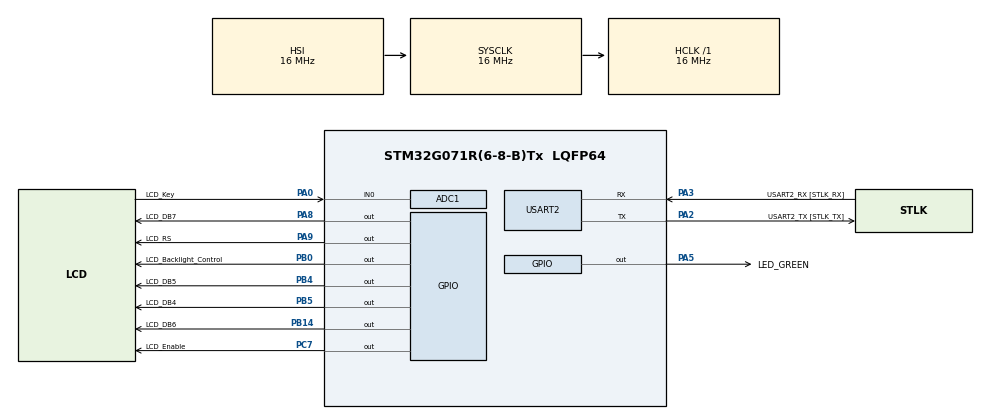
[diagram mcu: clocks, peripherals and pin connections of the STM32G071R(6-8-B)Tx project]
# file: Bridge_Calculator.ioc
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ADC1.Channel-0\#ChannelRegularConversion=ADC_CHANNEL_0
ADC1.NbrOfConversion=1
ADC1.NbrOfConversionFlag=1
ADC1.Rank-0\#ChannelRegularConversion=1
ADC1.Resolution=ADC_RESOLUTION_10B
ADC1.SamplingTime-0\#ChannelRegularConversion=ADC_SAMPLINGTIME_COMMON_1
ADC1.SamplingTimeCommon1=ADC_SAMPLETIME_1CYCLE_5
ADC1.SamplingTimeCommon2=ADC_SAMPLETIME_1CYCLE_5
ADC1.SelectedChannel=ADC_CHANNEL_0
ADC1.master=1
Mcu.Family=STM32G0
Mcu.Name=STM32G071R(6-8-B)Tx
Mcu.Package=LQFP64
NVIC.TIM2_IRQn=true\:0\:0\:false\:false\:true\:true\:true\:true
PA0.GPIO_Label=LCD_Key
PA0.Mode=IN0
PA0.Signal=ADC1_IN0
PA13.GPIO_Label=TMS
PA13.Mode=Serial_Wire
PA13.Signal=SYS_SWDIO
PA14-BOOT0.GPIO_Label=TCK
PA14-BOOT0.Mode=Serial_Wire
PA14-BOOT0.Signal=SYS_SWCLK
PA2.GPIO_Label=USART2_TX [STLK_TX]
PA2.GPIO_PuPd=GPIO_PULLUP
PA2.Mode=Asynchronous
PA2.Signal=USART2_TX
PA3.GPIO_Label=USART2_RX [STLK_RX]
PA3.GPIO_PuPd=GPIO_PULLUP
PA3.Mode=Asynchronous
PA3.Signal=USART2_RX
PA5.GPIO_Label=LED_GREEN
PA5.GPIO_Speed=GPIO_SPEED_FREQ_HIGH
PA5.Signal=GPIO_Output
PA8.GPIO_Label=LCD_DB7
PA8.GPIO_PuPd=GPIO_PULLDOWN
PA8.PinState=GPIO_PIN_RESET
PA8.Signal=GPIO_Output
PA9.GPIO_Label=LCD_RS
PA9.GPIO_PuPd=GPIO_PULLDOWN
PA9.PinState=GPIO_PIN_RESET
PA9.Signal=GPIO_Output
PB0.GPIO_Label=LCD_Backlight_Control
PB0.GPIO_PuPd=GPIO_PULLDOWN
PB0.PinState=GPIO_PIN_RESET
PB0.Signal=GPIO_Output
PB14.GPIO_Label=LCD_DB6
PB14.GPIO_PuPd=GPIO_PULLDOWN
PB14.PinState=GPIO_PIN_RESET
PB14.Signal=GPIO_Output
PB4.GPIO_Label=LCD_DB5
PB4.GPIO_PuPd=GPIO_PULLDOWN
PB4.PinState=GPIO_PIN_RESET
PB4.Signal=GPIO_Output
PB5.GPIO_Label=LCD_DB4
PB5.GPIO_PuPd=GPIO_PULLDOWN
PB5.PinState=GPIO_PIN_RESET
PB5.Signal=GPIO_Output
PC13.Mode=SYS_WakeUp1
PC13.Signal=SYS_WKUP2
PC14-OSC32_IN\ (PC14).Mode=LSE-External-Oscillator
PC14-OSC32_IN\ (PC14).Signal=RCC_OSC32_IN
PC15-OSC32_OUT\ (PC15).Mode=LSE-External-Oscillator
PC15-OSC32_OUT\ (PC15).Signal=RCC_OSC32_OUT
PC7.GPIO_Label=LCD_Enable
PC7.GPIO_PuPd=GPIO_PULLDOWN
PC7.PinState=GPIO_PIN_RESET
PC7.Signal=GPIO_Output
PF0-OSC_IN\ (PF0).GPIO_Label=MCO
PF0-OSC_IN\ (PF0).Mode=HSE-External-Clock-Source
PF0-OSC_IN\ (PF0).Signal=RCC_OSC_IN
ProjectManager.HeapSize=0x200
ProjectManager.StackSize=0x400
ProjectManager.TargetToolchain=CMake
RCC.AHBFreq_Value=16000000
RCC.CortexFreq_Value=16000000
RCC.EXTERNAL_CLOCK_VALUE=12288000
RCC.HCLKFreq_Value=16000000
RCC.HSE_VALUE=8000000
RCC.HSI_VALUE=16000000
RCC.PLLQ=RCC_PLLQ_DIV4
RCC.SYSCLKFreq_VALUE=16000000
RCC.VCOOutputFreq_Value=128000000
TIM2.AutoReloadPreload=TIM_AUTORELOAD_PRELOAD_ENABLE
TIM2.Period=999
TIM2.Prescaler=15
USART2.VirtualMode-Asynchronous=VM_ASYNC
VP_TIM2_VS_ClockSourceINT.Mode=Internal
board=NUCLEO-G071RB

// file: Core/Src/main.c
/* USER CODE BEGIN Header */
/**
  ******************************************************************************
  * @file           : main.c
  * @brief          : Main program body
  ******************************************************************************
  * @attention
  *
  * Copyright (c) 2025 STMicroelectronics.
  * All rights reserved.
  *
  * This software is licensed under terms that can be found in the LICENSE file
  * in the root directory of this software component.
  * If no LICENSE file comes with this software, it is provided AS-IS.
  *
  ******************************************************************************
  */
/* USER CODE END Header */
#include "main.h"
#include "adc.h"
#include "tim.h"
#include "usart.h"
#include "gpio.h"

/* USER CODE BEGIN Includes */
#include "HD44780U.h"
#include "bridge_timers.h"
#include "bc_state_machine.h"
#include "bridge_common.h"
#include <stdio.h>
/* USER CODE END Includes */

/* USER CODE BEGIN PD */
void init_HD44780();
void delay_62_5ns(uint32_t ns);
/* USER CODE END PD */

/* USER CODE BEGIN PV */
lcd_hd44780u lcd_0;

/* USER CODE END PV */

void SystemClock_Config(void);
/* USER CODE BEGIN PFP */
void HAL_TIM_PeriodElapsedCallback(TIM_HandleTypeDef *htim)
{
  if(htim->Instance == TIM2)
  {
    (void)timers_update();
	}
}
/* USER CODE END PFP */

int main(void)
{

  /* USER CODE BEGIN 1 */
  uint16_t adc_value = 0;
  char adc_char_value[16] = {0,0,0,0,0,0,0,0,0,0,0,0,0,0,0,0};
  /* USER CODE END 1 */

  /* MCU Configuration--------------------------------------------------------*/

  /* Reset of all peripherals, Initializes the Flash interface and the Systick. */
  HAL_Init();

  /* USER CODE BEGIN Init */
  lcd_0.interface = mode_4_bits;
  lcd_0.pinout.enable_port = (uint32_t*)LCD_Enable_GPIO_Port;
  lcd_0.pinout.enable_pin = LCD_Enable_Pin;
  lcd_0.pinout.rs_port = (uint32_t*)LCD_RS_GPIO_Port;
  lcd_0.pinout.rs_pin = LCD_RS_Pin;
  lcd_0.pinout.db7_port = (uint32_t*)LCD_DB7_GPIO_Port;
  lcd_0.pinout.db7_pin = LCD_DB7_Pin;
  lcd_0.pinout.db6_port = (uint32_t*)LCD_DB6_GPIO_Port;
  lcd_0.pinout.db6_pin = LCD_DB6_Pin;
  lcd_0.pinout.db5_port = (uint32_t*)LCD_DB5_GPIO_Port;
  lcd_0.pinout.db5_pin = LCD_DB5_Pin;
  lcd_0.pinout.db4_port = (uint32_t*)LCD_DB4_GPIO_Port;
  lcd_0.pinout.db4_pin = LCD_DB4_Pin;
  lcd_0.curr_display_state = MODULE_IDLE_STATE;
  lcd_0.delay = &delay_62_5ns;

  /* USER CODE END Init */

  /* Configure the system clock */
  SystemClock_Config();

  /* Initialize all configured peripherals */
  MX_GPIO_Init();
  MX_USART2_UART_Init();
  MX_ADC1_Init();
  MX_TIM2_Init();
  /* USER CODE BEGIN 2 */
  set_modules(&lcd_0);
  start_bc_state_machine();
  HAL_TIM_Base_Start_IT(&htim2);
	// while(0 == init_lcd(&lcd_0)){}

  HAL_GPIO_WritePin(LCD_Backlight_Control_GPIO_Port, LCD_Backlight_Control_Pin, GPIO_PIN_SET);

  (void)timer_start(ADC_MESUR_TIMER);

  /* USER CODE END 2 */

  /* Infinite loop */
  while (1)
  {

    /* USER CODE BEGIN 3 */

    bc_state_machine_routine();

    if (is_timer_reached(ADC_MESUR_TIMER))
    {
      (void)timer_reset(ADC_MESUR_TIMER);
      HAL_ADC_Start(&hadc1);
      (void)timer_start(ADC_MESUR_TIMER);
    }

    if (HAL_ADC_PollForConversion(&hadc1, 10) == HAL_OK)
    {
      adc_value = HAL_ADC_GetValue(&hadc1);
      (void)sprintf(adc_char_value, "Value: %d", adc_value);
      clean_display(&lcd_0);
      display_control(&lcd_0, 0x0C);
      display_string(&lcd_0, adc_char_value, sizeof(adc_char_value));
    }
  }
  /* USER CODE END 3 */
}

void SystemClock_Config(void)
{
  RCC_OscInitTypeDef RCC_OscInitStruct = {0};
  RCC_ClkInitTypeDef RCC_ClkInitStruct = {0};

  /** Configure the main internal regulator output voltage
  */
  HAL_PWREx_ControlVoltageScaling(PWR_REGULATOR_VOLTAGE_SCALE1);

  /** Initializes the RCC Oscillators according to the specified parameters
  * in the RCC_OscInitTypeDef structure.
  */
  RCC_OscInitStruct.OscillatorType = RCC_OSCILLATORTYPE_HSI;
  RCC_OscInitStruct.HSIState = RCC_HSI_ON;
  RCC_OscInitStruct.HSIDiv = RCC_HSI_DIV1;
  RCC_OscInitStruct.HSICalibrationValue = RCC_HSICALIBRATION_DEFAULT;
  RCC_OscInitStruct.PLL.PLLState = RCC_PLL_NONE;
  if (HAL_RCC_OscConfig(&RCC_OscInitStruct) != HAL_OK)
  {
    Error_Handler();
  }

  /** Initializes the CPU, AHB and APB buses clocks
  */
  RCC_ClkInitStruct.ClockType = RCC_CLOCKTYPE_HCLK|RCC_CLOCKTYPE_SYSCLK
                              |RCC_CLOCKTYPE_PCLK1;
  RCC_ClkInitStruct.SYSCLKSource = RCC_SYSCLKSOURCE_HSI;
  RCC_ClkInitStruct.AHBCLKDivider = RCC_SYSCLK_DIV1;
  RCC_ClkInitStruct.APB1CLKDivider = RCC_HCLK_DIV1;

  if (HAL_RCC_ClockConfig(&RCC_ClkInitStruct, FLASH_LATENCY_0) != HAL_OK)
  {
    Error_Handler();
  }
}

/* USER CODE BEGIN 4 */
void delay_62_5ns(uint32_t ns)
{
  if (ns > 63)
  {
    for (uint32_t i = 0; i < (uint32_t)(ns/62.5) ; i++)
    {
      asm("nop");
    }
  }
}
/* USER CODE END 4 */

void Error_Handler(void)
{
  __disable_irq();
  while (1)
  {
  }
}
